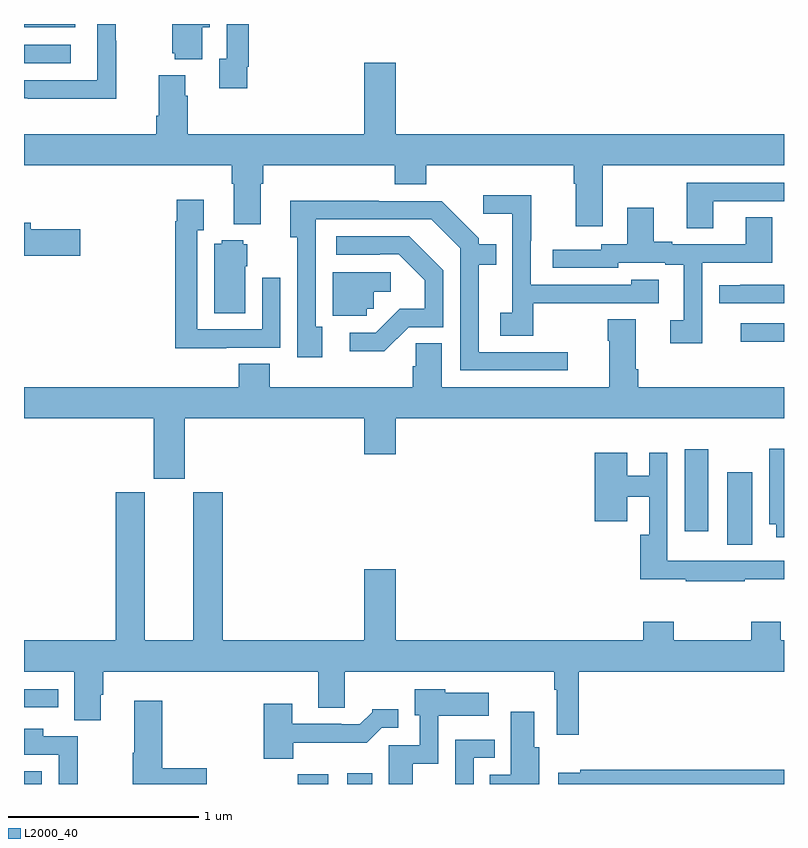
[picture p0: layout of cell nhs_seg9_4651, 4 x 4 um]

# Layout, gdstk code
import gdstk
lib = gdstk.Library(unit=1e-6, precision=1e-09)
def R(c, l, rs):  # rectangles x0, y0, x1, y1
    for r in rs: c.add(gdstk.rectangle(r[:2], r[2:], *l))
def P(c, l, *ps):  # polygons
    for p in ps: c.add(gdstk.Polygon(p, *l))
L2000_40 = (2000, 40)

nhs_seg9_4651 = lib.new_cell('nhs_seg9_4651')
R(nhs_seg9_4651, L2000_40, [(379,1190.5,379.093,1190.566), (380.44,1190.5,380.602,1190.551), (380.702,1190.5,380.833,1190.557), (379,1190.904,379.18,1191), (382.7,1191.76,382.834,1192.141), (382.478,1191.831,382.6,1192.261), (382.773,1192.828,383,1192.926), (379,1194.294,379.246,1194.39), (379,1194.482,379.27,1194.5)])
P(nhs_seg9_4651, L2000_40, [(379.485,1194.413),(379.482,1194.413),(379.482,1194.5),(379.386,1194.5),(379.386,1194.204),(379,1194.204),(379,1194.108),(379.021,1194.108),(379.021,1194.107),(379.485,1194.107)],
  [(379.939,1194.482),(379.978,1194.482),(379.978,1194.5),(379.781,1194.5),(379.781,1194.345),(379.793,1194.345),(379.793,1194.314),(379.939,1194.314)],
  [(380.176,1194.274),(380.183,1194.274),(380.183,1194.5),(380.067,1194.5),(380.067,1194.318),(380.027,1194.318),(380.027,1194.162),(380.176,1194.162)],
  [(382.045,1193.756),(383,1193.756),(383,1193.92),(380.956,1193.92),(380.956,1194.295),(380.792,1194.295),(380.792,1193.92),(379.862,1193.92),(379.862,1194.122),(379.849,1194.122),(379.849,1194.229),(379.709,1194.229),(379.709,1194.016),(379.697,1194.016),(379.697,1193.92),(379,1193.92),(379,1193.756),(380.093,1193.756),(380.093,1193.66),(380.105,1193.66),(380.105,1193.447),(380.245,1193.447),(380.245,1193.66),(380.258,1193.66),(380.258,1193.756),(380.951,1193.756),(380.951,1193.657),(381.116,1193.657),(381.116,1193.756),(381.893,1193.756),(381.893,1193.66),(381.905,1193.66),(381.905,1193.436),(382.045,1193.436)],
  [(382.627,1193.568),(383,1193.568),(383,1193.664),(382.487,1193.664),(382.487,1193.425),(382.627,1193.425)],
  [(381.679,1193.029),(381.983,1193.029),(381.983,1193.031),(382.342,1193.031),(382.342,1193.155),(382.197,1193.155),(382.197,1193.127),(381.666,1193.127),(381.666,1193.36),(381.669,1193.36),(381.669,1193.599),(381.417,1193.599),(381.417,1193.501),(381.57,1193.501),(381.57,1192.98),(381.507,1192.98),(381.507,1192.858),(381.679,1192.858)],
  [(380.065,1192.797),(380.349,1192.797),(380.349,1193.164),(380.253,1193.164),(380.253,1192.893),(379.911,1192.893),(379.911,1193.414),(379.945,1193.414),(379.945,1193.575),(379.803,1193.575),(379.803,1193.462),(379.795,1193.462),(379.795,1192.793),(380.065,1192.793)],
  [(381.862,1192.773),(381.394,1192.773),(381.394,1193.232),(381.485,1193.232),(381.485,1193.341),(381.393,1193.341),(381.393,1193.373),(381.198,1193.568),(380.867,1193.568),(380.867,1193.57),(380.402,1193.57),(380.402,1193.378),(380.439,1193.378),(380.439,1192.746),(380.569,1192.746),(380.569,1192.906),(380.535,1192.906),(380.535,1193.472),(381.144,1193.472),(381.297,1193.319),(381.297,1192.677),(381.862,1192.677)],
  [(382.569,1193.244),(382.939,1193.244),(382.939,1193.483),(382.799,1193.483),(382.799,1193.34),(382.411,1193.34),(382.411,1193.353),(382.315,1193.353),(382.315,1193.533),(382.175,1193.533),(382.175,1193.34),(382.038,1193.34),(382.038,1193.313),(381.783,1193.313),(381.783,1193.217),(382.128,1193.217),(382.128,1193.244),(382.376,1193.244),(382.376,1193.232),(382.472,1193.232),(382.472,1192.941),(382.401,1192.941),(382.401,1192.821),(382.569,1192.821)],
  [(379.297,1193.421),(379.036,1193.421),(379.036,1193.455),(379,1193.455),(379,1193.279),(379.297,1193.279)],
  [(381.024,1192.905),(381.207,1192.905),(381.207,1193.203),(381.028,1193.382),(380.643,1193.382),(380.643,1193.286),(380.873,1193.286),(380.873,1193.289),(380.973,1193.289),(381.11,1193.152),(381.11,1193.002),(380.977,1193.002),(380.85,1192.875),(380.715,1192.875),(380.715,1192.778),(380.896,1192.778)],
  [(380.164,1193.226),(380.176,1193.226),(380.176,1193.34),(380.154,1193.34),(380.154,1193.362),(380.04,1193.362),(380.04,1193.344),(380,1193.344),(380,1192.978),(380.164,1192.978)],
  [(380.805,1193.001),(380.841,1193.001),(380.841,1193.09),(380.929,1193.09),(380.929,1193.193),(380.624,1193.193),(380.624,1192.965),(380.805,1192.965)],
  [(383,1193.127),(382.771,1193.127),(382.771,1193.126),(382.659,1193.126),(382.659,1193.031),(383,1193.031)],
  [(379.846,1192.424),(380.792,1192.424),(380.792,1192.236),(380.956,1192.236),(380.956,1192.424),(383,1192.424),(383,1192.588),(382.232,1192.588),(382.232,1192.684),(382.219,1192.684),(382.219,1192.945),(382.072,1192.945),(382.072,1192.832),(382.079,1192.832),(382.079,1192.588),(381.199,1192.588),(381.199,1192.82),(381.061,1192.82),(381.061,1192.698),(381.047,1192.698),(381.047,1192.588),(380.294,1192.588),(380.294,1192.712),(380.129,1192.712),(380.129,1192.588),(379,1192.588),(379,1192.424),(379.682,1192.424),(379.682,1192.107),(379.846,1192.107)],
  [(383,1192.264),(382.922,1192.264),(382.922,1191.866),(382.958,1191.866),(382.958,1191.798),(383,1191.798)],
  [(382.793,1191.577),(383,1191.577),(383,1191.675),(382.596,1191.675),(382.596,1191.676),(382.386,1191.676),(382.386,1192.243),(382.29,1192.243),(382.29,1192.123),(382.174,1192.123),(382.174,1192.243),(382.004,1192.243),(382.004,1191.882),(382.174,1191.882),(382.174,1192.013),(382.29,1192.013),(382.29,1191.811),(382.244,1191.811),(382.244,1191.577),(382.483,1191.577),(382.483,1191.567),(382.793,1191.567)],
  [(381.92,1191.092),(383,1191.092),(383,1191.256),(382.983,1191.256),(382.983,1191.355),(382.828,1191.355),(382.828,1191.256),(382.419,1191.256),(382.419,1191.355),(382.259,1191.355),(382.259,1191.256),(380.956,1191.256),(380.956,1191.631),(380.792,1191.631),(380.792,1191.256),(380.045,1191.256),(380.045,1192.035),(379.892,1192.035),(379.892,1191.256),(379.636,1191.256),(379.636,1192.035),(379.484,1192.035),(379.484,1191.256),(379,1191.256),(379,1191.092),(379.265,1191.092),(379.265,1190.836),(379.405,1190.836),(379.405,1190.97),(379.418,1190.97),(379.418,1191.092),(380.549,1191.092),(380.549,1190.902),(380.689,1190.902),(380.689,1191.092),(381.792,1191.092),(381.792,1190.996),(381.804,1190.996),(381.804,1190.76),(381.92,1190.76)],
  [(381.046,1190.606),(381.18,1190.606),(381.18,1190.858),(381.445,1190.858),(381.445,1190.98),(381.216,1190.98),(381.216,1190.998),(381.056,1190.998),(381.056,1190.862),(381.084,1190.862),(381.084,1190.703),(380.921,1190.703),(380.921,1190.5),(381.046,1190.5)],
  [(379.963,1190.582),(379.727,1190.582),(379.727,1190.938),(379.58,1190.938),(379.58,1190.665),(379.573,1190.665),(379.573,1190.5),(379.963,1190.5)],
  [(380.416,1190.718),(380.805,1190.718),(380.883,1190.796),(380.971,1190.796),(380.971,1190.893),(380.832,1190.893),(380.832,1190.878),(380.768,1190.814),(380.669,1190.814),(380.669,1190.817),(380.413,1190.817),(380.413,1190.923),(380.261,1190.923),(380.261,1190.633),(380.416,1190.633)],
  [(381.712,1190.694),(381.685,1190.694),(381.685,1190.881),(381.563,1190.881),(381.563,1190.548),(381.451,1190.548),(381.451,1190.5),(381.712,1190.5)],
  [(379.283,1190.751),(379.101,1190.751),(379.101,1190.791),(379,1190.791),(379,1190.655),(379.182,1190.655),(379.182,1190.5),(379.283,1190.5)],
  [(381.366,1190.637),(381.478,1190.637),(381.478,1190.733),(381.27,1190.733),(381.27,1190.5),(381.366,1190.5)],
  [(383,1190.576),(381.928,1190.576),(381.928,1190.558),(381.812,1190.558),(381.812,1190.5),(383,1190.5)])

lib.write_gds('nhs_seg9_4651.gds')
